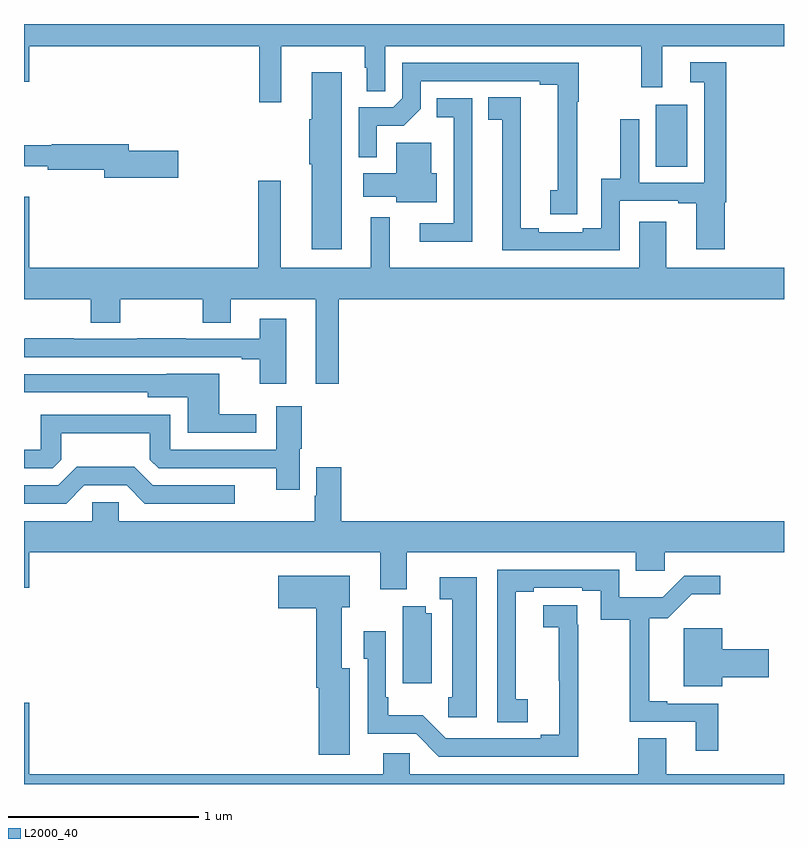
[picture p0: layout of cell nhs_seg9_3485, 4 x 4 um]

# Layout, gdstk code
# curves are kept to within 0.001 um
import gdstk
lib = gdstk.Library(unit=1e-6, precision=1e-09)
def R(c, l, rs):  # rectangles x0, y0, x1, y1
    for r in rs: c.add(gdstk.rectangle(r[:2], r[2:], *l))
def P(c, l, *ps):  # polygons
    for p in ps: c.add(gdstk.Polygon(p, *l))
L2000_40 = (2000, 40)

nhs_seg9_3485 = lib.new_cell('nhs_seg9_3485')
R(nhs_seg9_3485, L2000_40, [(312.326,1231.75,312.49,1232.074)])
P(nhs_seg9_3485, L2000_40, [(310.354,1232.384),(310.794,1232.384),(310.794,1232.271),(310.805,1232.271),(310.805,1232.146),(310.902,1232.146),(310.902,1232.384),(312.249,1232.384),(312.249,1232.166),(312.358,1232.166),(312.358,1232.384),(313,1232.384),(313,1232.5),(309,1232.5),(309,1232.196),(309.028,1232.196),(309.028,1232.384),(310.237,1232.384),(310.237,1232.088),(310.354,1232.088)],
  [(312.135,1231.569),(312.443,1231.569),(312.443,1231.557),(312.539,1231.557),(312.539,1231.314),(312.689,1231.314),(312.689,1231.562),(312.695,1231.562),(312.695,1232.299),(312.507,1232.299),(312.507,1232.193),(312.579,1232.193),(312.579,1231.665),(312.237,1231.665),(312.237,1231.999),(312.139,1231.999),(312.139,1231.685),(312.039,1231.685),(312.039,1231.424),(311.942,1231.424),(311.942,1231.404),(311.71,1231.404),(311.71,1231.424),(311.614,1231.424),(311.614,1231.705),(311.615,1231.705),(311.615,1232.114),(311.443,1232.114),(311.443,1231.996),(311.516,1231.996),(311.516,1231.308),(312.135,1231.308)],
  [(311.911,1232.092),(311.921,1232.092),(311.921,1232.295),(310.992,1232.295),(310.992,1232.109),(310.944,1232.061),(310.761,1232.061),(310.761,1231.799),(310.857,1231.799),(310.857,1231.965),(310.998,1231.965),(311.088,1232.055),(311.088,1232.199),(311.714,1232.199),(311.714,1232.179),(311.81,1232.179),(311.81,1231.624),(311.771,1231.624),(311.771,1231.5),(311.911,1231.5)],
  [(310.672,1232.245),(310.514,1232.245),(310.514,1232),(310.502,1232),(310.502,1231.762),(310.514,1231.762),(310.514,1231.314),(310.672,1231.314)],
  [(311.359,1231.906),(311.358,1231.906),(311.358,1232.109),(311.173,1232.109),(311.173,1232.008),(311.262,1232.008),(311.262,1231.452),(311.082,1231.452),(311.082,1231.355),(311.359,1231.355)],
  [(311.173,1231.714),(311.143,1231.714),(311.143,1231.876),(310.958,1231.876),(310.958,1231.714),(310.785,1231.714),(310.785,1231.592),(310.958,1231.592),(310.958,1231.562),(311.173,1231.562)],
  [(309.811,1231.832),(309.55,1231.832),(309.55,1231.868),(309.146,1231.868),(309.146,1231.861),(309,1231.861),(309,1231.751),(309.124,1231.751),(309.124,1231.732),(309.422,1231.732),(309.422,1231.69),(309.811,1231.69)],
  [(310.657,1231.052),(313,1231.052),(313,1231.216),(312.379,1231.216),(312.379,1231.459),(312.239,1231.459),(312.239,1231.216),(310.924,1231.216),(310.924,1231.483),(310.826,1231.483),(310.826,1231.216),(310.351,1231.216),(310.351,1231.675),(310.234,1231.675),(310.234,1231.216),(309.028,1231.216),(309.028,1231.591),(309,1231.591),(309,1231.052),(309.352,1231.052),(309.352,1230.928),(309.507,1230.928),(309.507,1231.052),(309.94,1231.052),(309.94,1230.928),(310.087,1230.928),(310.087,1231.052),(310.535,1231.052),(310.535,1230.606),(310.657,1230.606)],
  [(310.381,1230.949),(310.241,1230.949),(310.241,1230.843),(309.851,1230.843),(309.851,1230.845),(309.595,1230.845),(309.595,1230.843),(309.263,1230.843),(309.263,1230.845),(309.007,1230.845),(309.007,1230.843),(309,1230.843),(309,1230.747),(310.145,1230.747),(310.145,1230.735),(310.241,1230.735),(310.241,1230.606),(310.381,1230.606)],
  [(310.222,1230.445),(310.027,1230.445),(310.027,1230.658),(309.751,1230.658),(309.751,1230.657),(309,1230.657),(309,1230.561),(309.651,1230.561),(309.651,1230.536),(309.863,1230.536),(309.863,1230.348),(310.222,1230.348)],
  [(310.45,1230.265),(310.463,1230.265),(310.463,1230.487),(310.328,1230.487),(310.328,1230.258),(309.771,1230.258),(309.771,1230.444),(309.087,1230.444),(309.087,1230.258),(309,1230.258),(309,1230.162),(309.15,1230.162),(309.195,1230.207),(309.195,1230.347),(309.663,1230.347),(309.663,1230.207),(309.708,1230.162),(310.328,1230.162),(310.328,1230.048),(310.45,1230.048)],
  [(309.318,1230.072),(309.54,1230.072),(309.636,1229.976),(310.108,1229.976),(310.108,1230.072),(309.678,1230.072),(309.581,1230.17),(309.278,1230.17),(309.18,1230.072),(309,1230.072),(309,1229.976),(309.222,1229.976)],
  [(310.67,1230.166),(310.538,1230.166),(310.538,1230.017),(310.531,1230.017),(310.531,1229.884),(309.498,1229.884),(309.498,1229.982),(309.36,1229.982),(309.36,1229.884),(309,1229.884),(309,1229.532),(309.028,1229.532),(309.028,1229.72),(310.874,1229.72),(310.874,1229.526),(311.014,1229.526),(311.014,1229.72),(312.221,1229.72),(312.221,1229.622),(312.373,1229.622),(312.373,1229.72),(313,1229.72),(313,1229.884),(310.67,1229.884)],
  [(312.653,1228.923),(312.385,1228.923),(312.385,1228.936),(312.29,1228.936),(312.29,1229.373),(312.389,1229.373),(312.515,1229.498),(312.664,1229.498),(312.664,1229.595),(312.474,1229.595),(312.361,1229.482),(312.132,1229.482),(312.132,1229.628),(311.49,1229.628),(311.49,1228.825),(311.65,1228.825),(311.65,1228.945),(311.589,1228.945),(311.589,1229.249),(311.587,1229.249),(311.587,1229.512),(311.683,1229.512),(311.683,1229.532),(311.939,1229.532),(311.939,1229.518),(312.036,1229.518),(312.036,1229.365),(312.187,1229.365),(312.187,1228.827),(312.536,1228.827),(312.536,1228.674),(312.653,1228.674)],
  [(310.714,1229.11),(310.672,1229.11),(310.672,1229.431),(310.714,1229.431),(310.714,1229.596),(310.338,1229.596),(310.338,1229.426),(310.538,1229.426),(310.538,1229.006),(310.55,1229.006),(310.55,1228.653),(310.714,1228.653)],
  [(311.383,1229.587),(311.187,1229.587),(311.187,1229.472),(311.255,1229.472),(311.255,1228.956),(311.233,1228.956),(311.233,1228.851),(311.383,1228.851)],
  [(311.918,1229.339),(311.912,1229.339),(311.912,1229.441),(311.733,1229.441),(311.733,1229.326),(311.815,1229.326),(311.816,1228.76),(311.72,1228.76),(311.72,1228.74),(311.22,1228.74),(311.099,1228.861),(310.918,1228.861),(310.918,1228.957),(310.905,1228.957),(310.905,1229.305),(310.788,1229.305),(310.788,1229.16),(310.809,1229.16),(310.809,1228.764),(311.064,1228.764),(311.184,1228.644),(311.918,1228.644)],
  [(311.146,1229.398),(311.114,1229.398),(311.114,1229.435),(310.994,1229.435),(310.994,1229.031),(311.146,1229.031)],
  [(312.676,1229.063),(312.919,1229.063),(312.919,1229.21),(312.676,1229.21),(312.676,1229.32),(312.473,1229.32),(312.473,1229.015),(312.676,1229.015)],
  [(313,1228.552),(312.379,1228.552),(312.379,1228.742),(312.232,1228.742),(312.232,1228.552),(311.031,1228.552),(311.031,1228.662),(310.892,1228.662),(310.892,1228.552),(309.028,1228.552),(309.028,1228.927),(309,1228.927),(309,1228.5),(313,1228.5)])

lib.write_gds('nhs_seg9_3485.gds')
